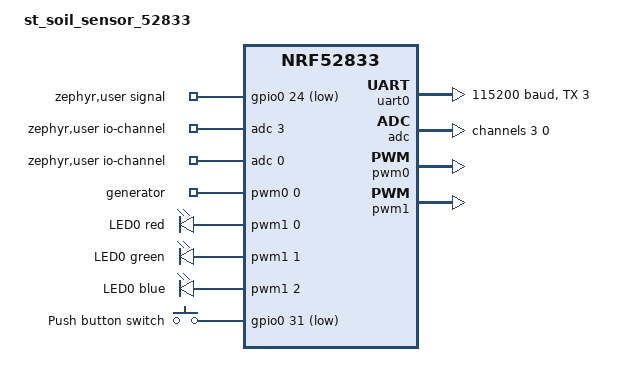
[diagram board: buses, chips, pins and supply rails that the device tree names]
// Copyright (c) 2023 Nordic Semiconductor ASA
// SPDX-License-Identifier: Apache-2.0

/dts-v1/;
#include <nordic/nrf52833_qiaa.dtsi>

/ {
	model = "st_soil_sensor_52833";
	compatible = "st-soil-sensor-52833";

	zephyr,user{
		io-channels = <&adc 3>, <&adc 0>;
		signal-gpios = <&gpio0 24 GPIO_ACTIVE_LOW>;
        pwms = <&pwm0 0 1000 PWM_POLARITY_NORMAL>;
        pwm-names = "generator";
	};

	chosen {
		zephyr,sram = &sram0;
		zephyr,flash = &flash0;
		zephyr,code-partition = &slot0_partition;
		zephyr,console = &uart0;
	};

	pwmleds {
		compatible = "pwm-leds";
		status = "okay";
	
		led_pwm_0: led_pwm0 {
				status = "okay";
				pwms = <&pwm1 0 PWM_USEC(256) PWM_POLARITY_NORMAL>;
				label = "LED0 red";
		};
	
		led_pwm_1: led_pwm1 {
				status = "okay";
				pwms = <&pwm1 1 PWM_USEC(256) PWM_POLARITY_NORMAL>;
				label = "LED0 green";
		};
	
		led_pwm_2: led_pwm2 {
				status = "okay";
				pwms = <&pwm1 2 PWM_USEC(256) PWM_POLARITY_NORMAL>;
				label = "LED0 blue";
		};
	};

	buttons {
		compatible = "gpio-keys";
		button0: button_0 {
			gpios = <&gpio0 31 (GPIO_PULL_UP | GPIO_ACTIVE_LOW)>;
			label = "Push button switch";
		};
	};

	/* These aliases are provided for compatibility with samples */
	aliases {
		pwm-led-r = &led_pwm_0;
		pwm-led-g = &led_pwm_1;
		pwm-led-b = &led_pwm_2;
		button = &button0;
	};
};

&gpio0 {
	status = "okay";
};

&gpio1 {
	status = "okay";
};


&uart0 {
	status = "okay";
	current-speed = <115200>;
	tx-pin = < 3 >;
};

&adc {
	status = "okay";
	#address-cells = <1>;
	#size-cells = <0>;

	channel@3 {
		reg = <3>;
		zephyr,gain = "ADC_GAIN_1_6";
		zephyr,reference = "ADC_REF_INTERNAL";
		// zephyr,acquisition-time = <ADC_ACQ_TIME(ADC_ACQ_TIME_MICROSECONDS, 20)>;
		zephyr,acquisition-time = < ADC_ACQ_TIME_DEFAULT >;
		zephyr,input-positive = <NRF_SAADC_AIN3>; /* P0.05 */
		zephyr,resolution = <12>;
	};

	channel@0 {
		reg = <0>;
		zephyr,gain = "ADC_GAIN_1_6";
		zephyr,reference = "ADC_REF_INTERNAL";
		// zephyr,acquisition-time = <ADC_ACQ_TIME(ADC_ACQ_TIME_MICROSECONDS, 20)>;
		zephyr,acquisition-time = < ADC_ACQ_TIME_DEFAULT >;
		zephyr,input-positive = <NRF_SAADC_VDD>; 
		zephyr,resolution = <12>;
	};
};


// SOMETHINKG NOT WORK WITH THAT
// &pinctrl {
// 	pwm1_default: pwm1_default_alt {
// 		group1 {
// 				psels = <NRF_PSEL(PWM_OUT0, 0, 2)>,
// 						<NRF_PSEL(PWM_OUT1, 0, 29)>,
// 						<NRF_PSEL(PWM_OUT2, 1, 13)>;
// 				nordic,invert;
// 		};
// 	};
// };

&pwm0 {
    status = "okay";
    ch0-pin = < 41 >;
};

&pwm1 {
	status = "okay";
	ch0-pin = < 2 >;
	ch1-pin = < 29 >;
	ch2-pin = < 37 >;
	// pinctrl-0 = <&pwm1_default>;
	// pinctrl-names = "default";
};



&flash0 {
	partitions {
		compatible = "fixed-partitions";
		#address-cells = <1>;
		#size-cells = <1>;

		boot_partition: partition@0 {
			label = "mcuboot";
			reg = <0x0 0xc000>;
		};
		slot0_partition: partition@c000 {
			label = "image-0";
			reg = <0xc000 0x32000>;
		};
		slot1_partition: partition@3e000 {
			label = "image-1";
			reg = <0x3e000 0x32000>;
		};
		scratch_partition: partition@70000 {
			label = "image-scratch";
			reg = <0x70000 0xa000>;
		};
		storage_partition: partition@7a000 {
			label = "storage";
			reg = <0x7a000 0x6000>;
		};
	};
};

